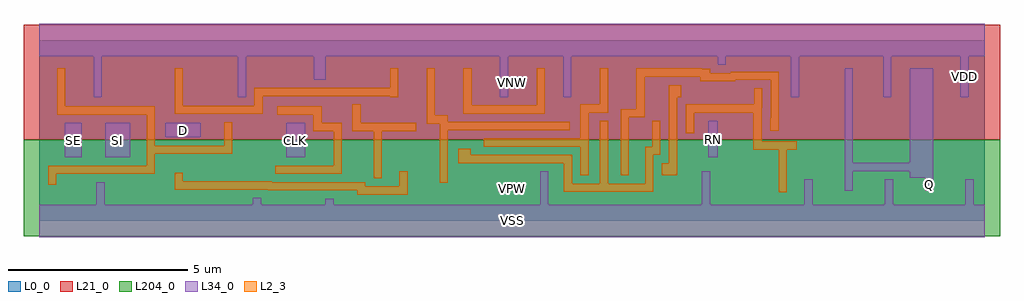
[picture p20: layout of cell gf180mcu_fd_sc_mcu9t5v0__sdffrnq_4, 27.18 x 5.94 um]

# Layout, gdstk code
import gdstk
lib = gdstk.Library(unit=1e-6, precision=1e-09)
def R(c, l, rs):  # rectangles x0, y0, x1, y1
    for r in rs: c.add(gdstk.rectangle(r[:2], r[2:], *l))
def A(c, l, x, y, w, h, nx, ny, dx, dy):  # array of equal rectangles
    R(c, l, [(x+i*dx, y+j*dy, x+i*dx+w, y+j*dy+h) for i in range(nx) for j in range(ny)])
L0_0 = (0, 0)
L2_3 = (2, 3)
L21_0 = (21, 0)
L34_0 = (34, 0)
L204_0 = (204, 0)

gf180mcu_fd_sc_mcu9t5v0_ = lib.new_cell('gf180mcu_fd_sc_mcu9t5v0__sdffrnq_4')
R(gf180mcu_fd_sc_mcu9t5v0_, L0_0, [(0,0,26.32,5.04)])
R(gf180mcu_fd_sc_mcu9t5v0_, L2_3, [(8.855,0.735,10.255,0.85), (20.585,0.8,20.815,1.985), (14.605,0.81,17.095,1.04), (6.36,0.85,10.255,0.875), (3.765,0.875,10.255,0.965), (3.765,0.965,9.08,1.08), (10.025,0.965,10.255,1.38), (0.245,1.005,0.475,1.31), (14.605,1.04,14.835,1.61), (15.605,1.04,15.835,2.79), (16.865,1.04,17.095,1.84), (11.145,1.07,11.375,2.53), (3.765,1.08,6.465,1.105), (3.765,1.105,3.995,1.345), (9.305,1.195,9.535,2.505), (15.065,1.27,15.295,2.07), (16.185,1.27,16.415,2.885), (17.325,1.27,17.755,1.61), (0.245,1.31,3.215,1.54), (6.57,1.31,8.42,1.54), (2.985,1.54,3.215,1.87), (8.19,1.54,8.42,2.505), (11.67,1.61,14.835,1.84), (17.525,1.61,17.755,3.44), (11.67,1.84,12.01,2.015), (16.865,1.84,17.295,2.07), (2.985,1.87,5.375,2.1), (19.885,1.985,21.085,2.215), (12.37,2.07,15.295,2.3), (17.065,2.07,17.295,2.79), (2.985,2.1,3.215,2.965), (5.145,2.1,5.375,2.75), (19.885,2.215,20.115,3.02), (15.065,2.3,15.295,3.02), (18.005,2.45,18.235,3.02), (7.63,2.505,8.42,2.735), (8.715,2.505,10.49,2.735), (20.345,2.515,20.595,2.855), (11.145,2.53,14.77,2.71), (10.785,2.71,14.77,2.76), (7.63,2.735,7.86,2.965), (8.715,2.735,8.945,3.25), (10.785,2.76,11.37,2.94), (20.365,2.855,20.595,3.93), (16.185,2.885,16.855,3.115), (10.785,2.94,11.015,4.25), (0.49,2.965,3.215,3.195), (6.62,2.965,7.86,3.195), (3.765,2.98,6.215,3.21), (11.805,2.99,14.075,3.22), (15.065,3.02,15.835,3.25), (18.005,3.02,20.115,3.155), (16.625,3.115,16.855,4.02), (18.005,3.155,20.135,3.25), (0.49,3.195,0.72,4.25), (3.765,3.21,3.995,4.25), (5.985,3.21,6.215,3.48), (11.805,3.22,12.035,4.25), (13.845,3.22,14.075,4.25), (15.605,3.25,15.835,4.25), (19.905,3.25,20.135,3.7), (9.765,3.44,9.995,3.48), (17.525,3.44,17.875,3.78), (5.985,3.48,9.995,3.71), (9.765,3.71,9.995,4.25), (18.4,3.89,19.375,3.93), (18.4,3.93,20.595,4.02), (16.625,4.02,20.595,4.12), (16.625,4.12,18.68,4.245), (19.245,4.12,20.595,4.16), (16.625,4.245,18.45,4.25)])
R(gf180mcu_fd_sc_mcu9t5v0_, L21_0, [(-0.43,2.265,26.75,5.47)])
A(gf180mcu_fd_sc_mcu9t5v0_, L34_0, 21.305, 0.45, 0.23, 0.71, 3, 1, 2.24, 0)
R(gf180mcu_fd_sc_mcu9t5v0_, L34_0, [(0,-0.45,26.32,0.45), (1.585,0.45,1.815,1.08), (5.945,0.45,6.175,0.645), (7.965,0.45,8.195,0.62), (13.945,0.45,14.175,1.38), (18.445,0.45,18.675,1.38), (22.425,0.84,22.655,1.39), (24.665,0.84,24.895,1.21), (24.23,1.21,24.895,1.39), (22.425,1.39,24.895,1.62), (22.425,1.62,22.655,4.25), (24.23,1.62,24.895,4.25), (0.71,1.77,1.175,2.735), (1.83,1.77,2.53,2.735), (6.87,1.77,7.4,2.735), (18.63,1.77,18.89,2.79), (3.51,2.33,4.49,2.735), (1.51,3.44,1.74,4.59), (5.525,3.44,5.755,4.59), (14.585,3.44,14.815,4.59), (20.925,3.44,21.155,4.59), (23.495,3.44,23.725,4.59), (25.645,3.44,25.875,4.59), (12.825,3.45,13.055,4.59), (7.64,3.94,7.98,4.59), (18.885,4.35,19.115,4.59), (0,4.59,26.32,5.49)])
R(gf180mcu_fd_sc_mcu9t5v0_, L204_0, [(-0.43,-0.43,26.75,2.265)])
gf180mcu_fd_sc_mcu9t5v0_.add(gdstk.Label('D', (4,2.532), layer=34, texttype=10))
gf180mcu_fd_sc_mcu9t5v0_.add(gdstk.Label('RN', (18.76,2.28), layer=34, texttype=10))
gf180mcu_fd_sc_mcu9t5v0_.add(gdstk.Label('SE', (0.942,2.252), layer=34, texttype=10))
gf180mcu_fd_sc_mcu9t5v0_.add(gdstk.Label('SI', (2.18,2.252), layer=34, texttype=10))
gf180mcu_fd_sc_mcu9t5v0_.add(gdstk.Label('CLK', (7.135,2.252), layer=34, texttype=10))
gf180mcu_fd_sc_mcu9t5v0_.add(gdstk.Label('Q', (24.78,1.025), layer=34, texttype=10))
gf180mcu_fd_sc_mcu9t5v0_.add(gdstk.Label('VDD', (25.76,4.015), layer=34, texttype=10))
gf180mcu_fd_sc_mcu9t5v0_.add(gdstk.Label('VSS', (13.16,0), layer=34, texttype=10))
gf180mcu_fd_sc_mcu9t5v0_.add(gdstk.Label('VNW', (13.16,3.867), layer=3, texttype=1))
gf180mcu_fd_sc_mcu9t5v0_.add(gdstk.Label('VPW', (13.16,0.917), layer=4, texttype=1))

lib.write_gds('gf180mcu_fd_sc_mcu9t5v0__sdffrnq_4.gds')
